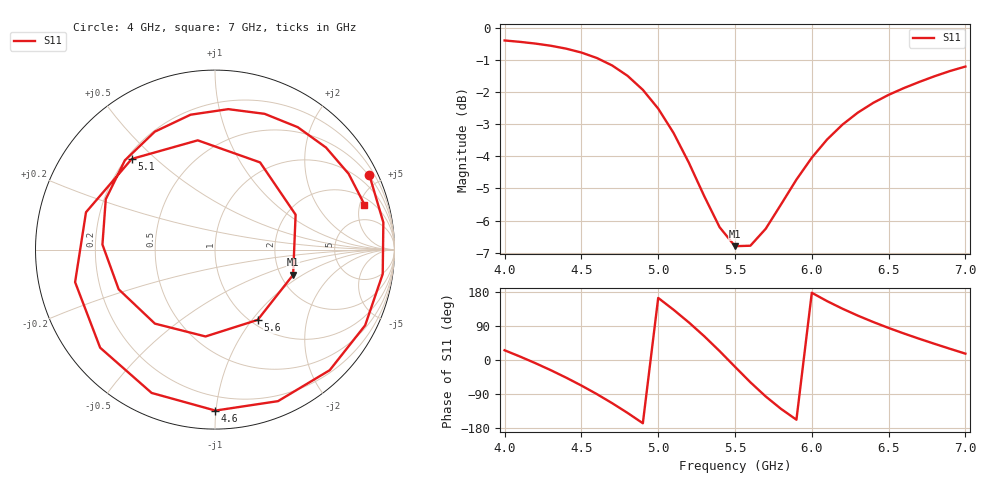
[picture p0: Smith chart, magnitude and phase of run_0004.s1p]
! Touchstone file exported from HFSS 2024.2.0
!  File:  C:/Users/wsak9/Desktop/Sim Fast/Widenad Patch/WP_AI_V1_sweep.aedt
!  Generated:  02:47:58 PM Oct 13, 2026
!  Design:  A1_model
!  Project:  WP_AI_V1_sweep
!  Setup:  Setup1
!  Solution:  Sweep
! Variables:
!  Air_gap = 3.56mm
!  Curve_Amp1 = 0.95
!  Curve_len1 = 1
!  Curve_pos = 10.97mm
!  Extra = 3.98mm
!  H_sub = 0.79mm
!  L_Patch = 17.94mm
!  L_Patch1 = 12.06mm
!  Sx = 1.09mm
!  Sy = 4.11mm
!  WS = 1.03mm
!  W_Patch = 13.71mm
!  W_Patch1 = 8.08mm
!Data is not renormalized
# GHz S MA
! Terminal data exported
! Port[1] = 1
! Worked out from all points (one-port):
!   31 points, 4 GHz to 7 GHz, reference per port
!   lowest |S11| = -6.8 dB at 5.5 GHz (marker M1), VSWR 2.69
!   |S11| at or under -10 dB: nowhere
!   S11 on the Smith chart (normalised r, x): 4 GHz: 0.46, +4.34; 4.6 GHz: 0.11, -1.00; 5.1 GHz: 0.22, +0.42; 5.6 GHz: 1.08, -1.07; 7 GHz: 2.68, +5.52
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4  0.9548 25.7
4.1  0.95 9.2
4.2  0.9443 -8.3
4.3  0.937 -26.8
4.4  0.9273 -46.4
4.5  0.9144 -67.4
4.6  0.8969 -89.9
4.7  0.8732 -113.9
4.8  0.8415 -139.5
4.9  0.8003 -166.9
5  0.7482 163.8
5.1  0.6858 132.6
5.2  0.6163 99.0
5.3  0.5469 62.7
5.4  0.4894 23.4
5.5  0.4574 -17.9
5.6  0.4582 -58.7
5.7  0.4868 -96.2
5.8  0.5312 -129.1
5.9  0.5805 -157.6
6  0.6278 177.4
6.1  0.6701 155.2
6.3  0.7377 117.1
6.4  0.7638 100.3
6.5  0.786 84.6
6.7  0.8232 56.0
6.9  0.856 29.5
7  0.8697 16.8
